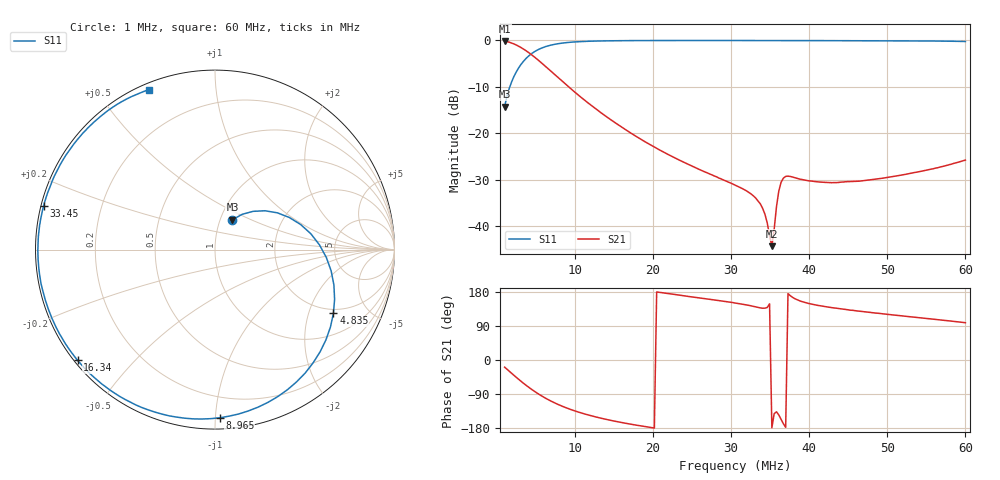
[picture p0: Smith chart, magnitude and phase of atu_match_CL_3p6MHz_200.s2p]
! S11/S21 from S-A-A-2 VNA
! Written 2026-11-14 07:55:23 by the saav2 MCP server
! S12 and S22 were not measured (1.5-port VNA) and are written as 0
# HZ S RI R 50
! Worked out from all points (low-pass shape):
!   201 points, 1 MHz to 60 MHz, reference 50 ohm
!   highest |S21| = -0.24 dB at 1 MHz (marker M1); lowest = -44.3 dB at 35.22 MHz (marker M2)
!   |S21| within 3 dB of the highest: start of sweep to 4.501 MHz
!   lowest |S11| = -14.3 dB at 1 MHz (marker M3), VSWR 1.48, Z = 57.1 + j19.7 ohm
!   |S11| at or under -10 dB: start of sweep to 1.683 MHz
!   S12 and S22 are empty: the file has one direction only
!   S11 on the Smith chart (normalised r, x): 1 MHz: 1.14, +0.39; 4.835 MHz: 1.82, -2.94; 8.965 MHz: 0.07, -1.03; 16.34 MHz: 0.01, -0.35; 33.45 MHz: 0.01, +0.12; 60 MHz: 0.03, +0.67
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1000000  0.0971 0.1663  0.9207 -0.3147  0 0  0 0
1885000  0.2788 0.2164  0.7608 -0.5318  0 0  0 0
2770000  0.4774 0.1395  0.5461 -0.6636  0 0  0 0
3950000  0.6471 -0.1186  0.2567 -0.6998  0 0  0 0
4835000  0.6599 -0.3549  0.0813 -0.6495  0 0  0 0
5720000  0.5852 -0.5702  -0.0448 -0.5657  0 0  0 0
6900000  0.4025 -0.7816  -0.144 -0.4418  0 0  0 0
8965000  0.0256 -0.9372  -0.1953 -0.2615  0 0  0 0
1.103e7  -0.2952 -0.9166  -0.1817 -0.1466  0 0  0 0
1.339e7  -0.5579 -0.8007  -0.1475 -0.0725  0 0  0 0
1.634e7  -0.7655 -0.6168  -0.1079 -0.0261  0 0  0 0
2.0765e7  -0.9225 -0.347  -0.0666 0.00147  0 0  0 0
2.5485e7  -0.9824 -0.0981  -0.041 0.0108  0 0  0 0
3.05e7  -0.9781 0.1266  -0.0241 0.0137  0 0  0 0
3.345e7  -0.9548 0.2414  -0.0141 0.0123  0 0  0 0
3.4335e7  -0.9462 0.2733  -0.00983 0.00922  0 0  0 0
3.522e7  -0.9364 0.3038  -0.00613 -0.000131  0 0  0 0
3.6105e7  -0.926 0.3332  -0.0195 -0.0137  0 0  0 0
3.6695e7  -0.9182 0.3526  -0.0322 -0.00672  0 0  0 0
4.053e7  -0.862 0.4741  -0.0253 0.0167  0 0  0 0
5.0265e7  -0.6618 0.7213  -0.0168 0.0292  0 0  0 0
6e7  -0.3686 0.8899  -0.00743 0.0509  0 0  0 0
